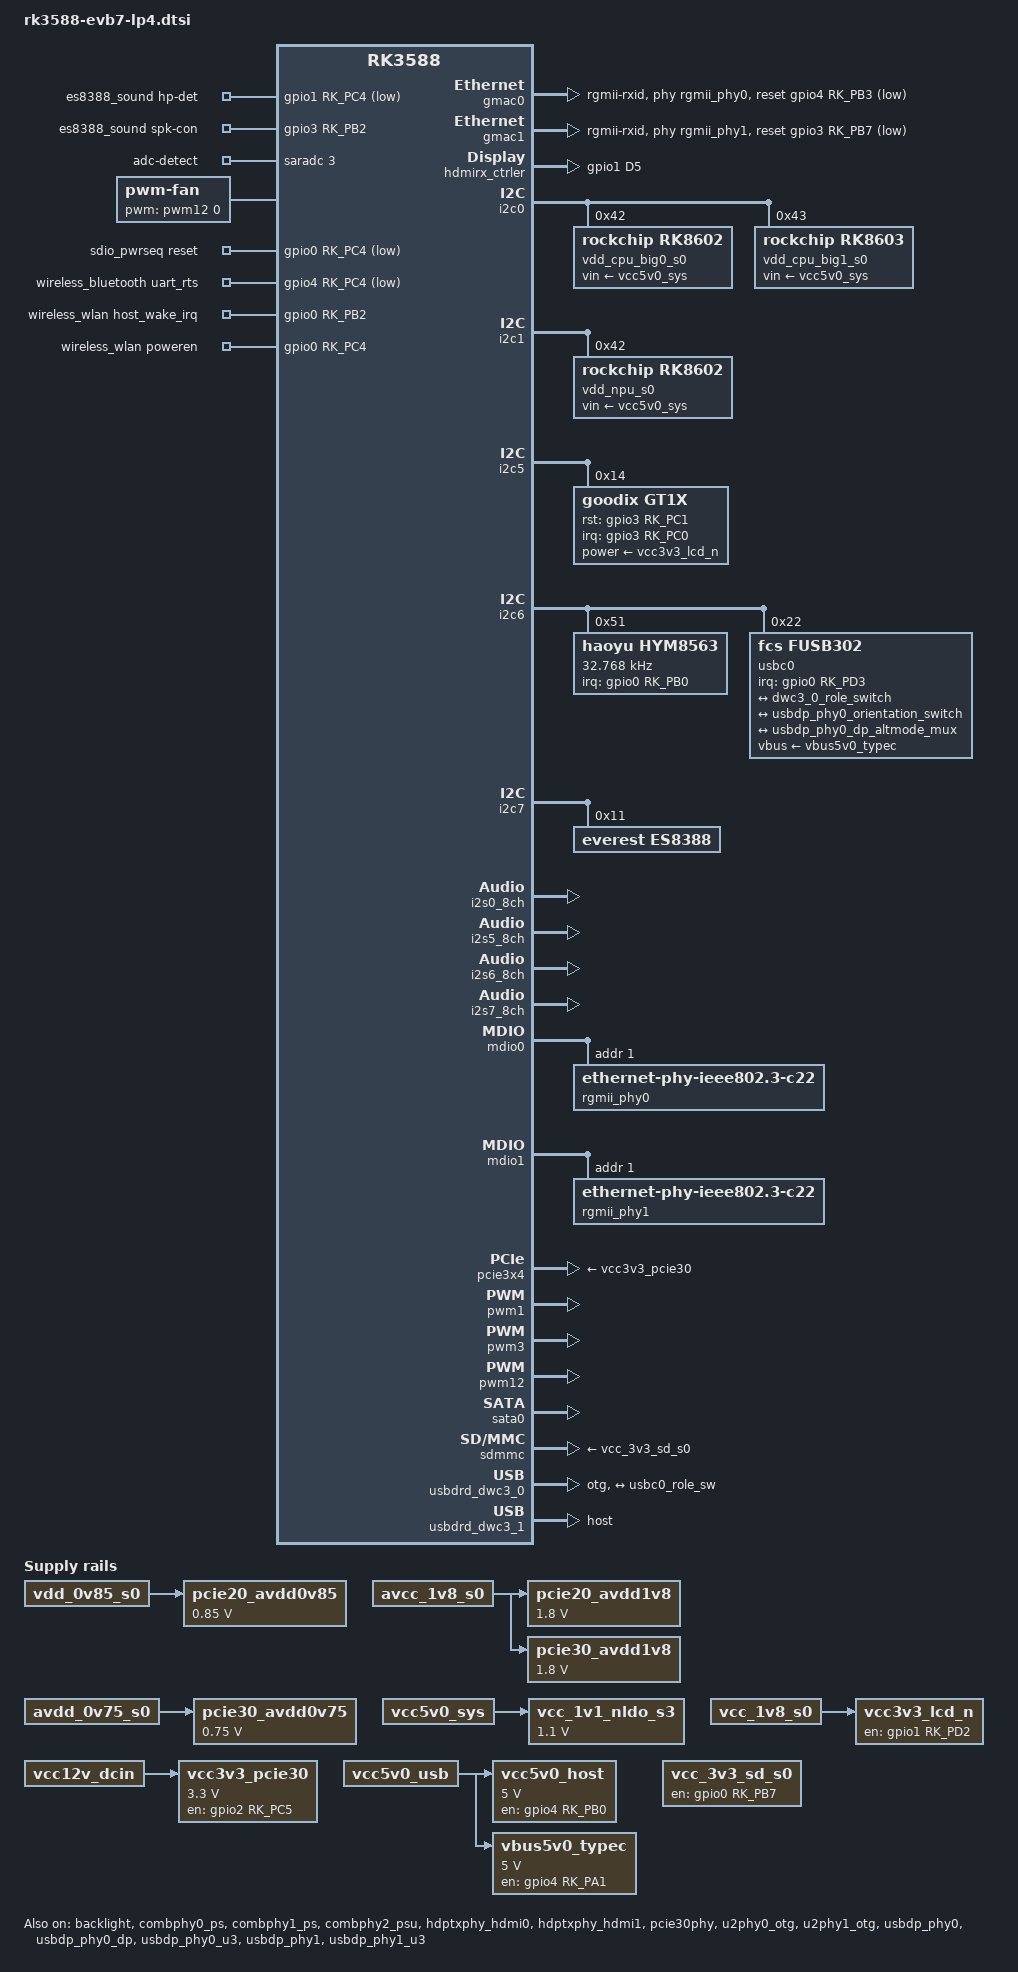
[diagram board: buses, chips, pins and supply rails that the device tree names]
// SPDX-License-Identifier: (GPL-2.0+ OR MIT)
/*
 * Copyright (c) 2021 Rockchip Electronics Co., Ltd.
 *
 */

#include "dt-bindings/usb/pd.h"
#include "rk3588.dtsi"
#include "rk3588-evb.dtsi"
#include "rk3588-rk806-single.dtsi"

#include "topeet_screen_lcds.dts"
#include "topeet_camera_config.dtsi"


/ {
	/* If hdmirx node is disabled, delete the reserved-memory node here. */
	reserved-memory {
		#address-cells = <2>;
		#size-cells = <2>;
		ranges;

		/* Reserve 128MB memory for hdmirx-controller@fdee0000 */
		cma {
			compatible = "shared-dma-pool";
			reusable;
			reg = <0x0 (256 * 0x100000) 0x0 (128 * 0x100000)>;
			linux,cma-default;
		};
	};

	es8388_sound: es8388-sound {
		status = "okay";
		compatible = "rockchip,multicodecs-card";
		rockchip,card-name = "rockchip-es8388";
		hp-det-gpio = <&gpio1 RK_PC4 GPIO_ACTIVE_LOW>;
		io-channels = <&saradc 3>;
		io-channel-names = "adc-detect";
		keyup-threshold-microvolt = <1800000>;
		poll-interval = <100>;
		spk-con-gpio = <&gpio3 RK_PB2 GPIO_ACTIVE_HIGH>;
		//hp-con-gpio = <&gpio4 RK_PA4 GPIO_ACTIVE_HIGH>;
		rockchip,format = "i2s";
		rockchip,mclk-fs = <256>;
		rockchip,cpu = <&i2s0_8ch>;
		rockchip,codec = <&es8388>;
		rockchip,audio-routing =
			"Headphone", "LOUT1",
			"Headphone", "ROUT1",
			"Speaker", "LOUT2",
			"Speaker", "ROUT2",
			"Headphone", "Headphone Power",
			"Headphone", "Headphone Power",
			"Speaker", "Speaker Power",
			"Speaker", "Speaker Power",
			"LINPUT1", "Main Mic",
			"LINPUT2", "Main Mic",
			"RINPUT1", "Headset Mic",
			"RINPUT2", "Headset Mic";
		pinctrl-names = "default";
		pinctrl-0 = <&hp_det>;
		play-pause-key {
			label = "playpause";
			linux,code = <KEY_PLAYPAUSE>;
			press-threshold-microvolt = <2000>;
		};
	};


	fan: pwm-fan {
        	compatible = "pwm-fan";
        	#cooling-cells = <2>;
        	pwms = <&pwm12 0 10000000 0>;
        	cooling-levels = <150 170 190 210 230 255>;
        	rockchip,temp-trips = <
            		40000   1  // 40度以上切换到 1档 (170)
            		50000   2  // 50度以上切换到 2档 (190)
            		60000   3  // 60度以上切换到 3档 (210)
            		70000   4  // 70度以上切换到 4档 (230)
            		80000   5  // 80度遇到高温时才满速 (255)
        	>;
	};

	hdmiin_dc: hdmiin-dc {
		compatible = "rockchip,dummy-codec";
		#sound-dai-cells = <0>;
	};

	hdmiin-sound {
		compatible = "rockchip,hdmi";
		rockchip,mclk-fs = <128>;
		rockchip,format = "i2s";
		rockchip,bitclock-master = <&hdmirx_ctrler>;
		rockchip,frame-master = <&hdmirx_ctrler>;
		rockchip,card-name = "rockchip,hdmiin";
		rockchip,cpu = <&i2s7_8ch>;
		rockchip,codec = <&hdmirx_ctrler 0>;
		rockchip,jack-det;
	};

	pcie20_avdd0v85: pcie20-avdd0v85 {
		compatible = "regulator-fixed";
		regulator-name = "pcie20_avdd0v85";
		regulator-boot-on;
		regulator-always-on;
		regulator-min-microvolt = <850000>;
		regulator-max-microvolt = <850000>;
		vin-supply = <&vdd_0v85_s0>;
	};

	pcie20_avdd1v8: pcie20-avdd1v8 {
		compatible = "regulator-fixed";
		regulator-name = "pcie20_avdd1v8";
		regulator-boot-on;
		regulator-always-on;
		regulator-min-microvolt = <1800000>;
		regulator-max-microvolt = <1800000>;
		vin-supply = <&avcc_1v8_s0>;
	};

	pcie30_avdd0v75: pcie30-avdd0v75 {
		compatible = "regulator-fixed";
		regulator-name = "pcie30_avdd0v75";
		regulator-boot-on;
		regulator-always-on;
		regulator-min-microvolt = <750000>;
		regulator-max-microvolt = <750000>;
		vin-supply = <&avdd_0v75_s0>;
	};

	pcie30_avdd1v8: pcie30-avdd1v8 {
		compatible = "regulator-fixed";
		regulator-name = "pcie30_avdd1v8";
		regulator-boot-on;
		regulator-always-on;
		regulator-min-microvolt = <1800000>;
		regulator-max-microvolt = <1800000>;
		vin-supply = <&avcc_1v8_s0>;
	};

	sdio_pwrseq: sdio-pwrseq {
		compatible = "mmc-pwrseq-simple";
		clocks = <&hym8563>;
		clock-names = "ext_clock";
		pinctrl-names = "default";
//		pinctrl-0 = <&wifi_enable_h>;
		/*
		 * On the module itself this is one of these (depending
		 * on the actual card populated):
		 * - SDIO_RESET_L_WL_REG_ON
		 * - PDN (power down when low)
		 */
		post-power-on-delay-ms = <200>;
		reset-gpios = <&gpio0 RK_PC4 GPIO_ACTIVE_LOW>;
	};
/*
	rk_headset: rk-headset {
		status = "disabled";
		compatible = "rockchip_headset";
		headset_gpio = <&gpio1 RK_PD5 GPIO_ACTIVE_LOW>;
		pinctrl-names = "default";
		pinctrl-0 = <&hp_det>;
		io-channels = <&saradc 3>;
	};
*/

	vcc_1v1_nldo_s3: vcc-1v1-nldo-s3 {
		compatible = "regulator-fixed";
		regulator-name = "vcc_1v1_nldo_s3";
		regulator-always-on;
		regulator-boot-on;
		regulator-min-microvolt = <1100000>;
		regulator-max-microvolt = <1100000>;
		vin-supply = <&vcc5v0_sys>;
	};

	vcc3v3_lcd_n: vcc3v3-lcd0-n {
		compatible = "regulator-fixed";
		regulator-name = "vcc3v3_lcd0_n";
		regulator-always-on;
		regulator-boot-on;
		enable-active-high;
		gpio = <&gpio1 RK_PD2 GPIO_ACTIVE_HIGH>;
		vin-supply = <&vcc_1v8_s0>;
	};

	vcc3v3_pcie30: vcc3v3-pcie30 {
		compatible = "regulator-fixed";
		regulator-name = "vcc3v3_pcie30";
		regulator-min-microvolt = <3300000>;
		regulator-max-microvolt = <3300000>;
		enable-active-high;
		gpios = <&gpio2 RK_PC5 GPIO_ACTIVE_HIGH>;
		startup-delay-us = <5000>;
		vin-supply = <&vcc12v_dcin>;
	};

	vcc5v0_host: vcc5v0-host {
		compatible = "regulator-fixed";
		regulator-name = "vcc5v0_host";
		regulator-boot-on;
		regulator-always-on;
		regulator-min-microvolt = <5000000>;
		regulator-max-microvolt = <5000000>;
		enable-active-high;
		gpio = <&gpio4 RK_PB0 GPIO_ACTIVE_HIGH>;
		vin-supply = <&vcc5v0_usb>;
		pinctrl-names = "default";
		pinctrl-0 = <&vcc5v0_host_en>;
	};

	vcc_3v3_sd_s0: vcc-3v3-sd-s0-regulator {
		compatible = "regulator-fixed";
		gpio = <&gpio0 RK_PB7 GPIO_ACTIVE_HIGH>;
		pinctrl-names = "default";
		pinctrl-0 = <&sd_s0_pwr>;
		regulator-name = "vcc_3v3_sd_s0";
		enable-active-high;
	};

	wireless_bluetooth: wireless-bluetooth {
		compatible = "bluetooth-platdata";
		clocks = <&hym8563>;
		clock-names = "ext_clock";
		uart_rts_gpios = <&gpio4 RK_PC4 GPIO_ACTIVE_LOW>;
		pinctrl-names = "default", "rts_gpio";
	//	pinctrl-0 = <&uart9m0_rtsn>, <&bt_reset_gpio>, <&bt_wake_gpio>, <&bt_irq_gpio>;
	//	pinctrl-1 = <&uart9_gpios>;
	//	BT,reset_gpio    = <&gpio0 RK_PC6 GPIO_ACTIVE_HIGH>;
	//	BT,wake_gpio     = <&gpio0 RK_PC5 GPIO_ACTIVE_HIGH>;
	//	BT,wake_host_irq = <&gpio0 RK_PA0 GPIO_ACTIVE_HIGH>;
		status = "okay";
	};

	wireless_wlan: wireless-wlan {
		compatible = "wlan-platdata";
		wifi_chip_type = "ap6398s";
		pinctrl-names = "default";
	//	pinctrl-0 = <&wifi_host_wake_irq>;
		WIFI,host_wake_irq = <&gpio0 RK_PB2 GPIO_ACTIVE_HIGH>;
		WIFI,poweren_gpio = <&gpio0 RK_PC4 GPIO_ACTIVE_HIGH>;
		status = "okay";
	};

	vbus5v0_typec: vbus5v0-typec {
		compatible = "regulator-fixed";
		regulator-name = "vbus5v0_typec";
		regulator-min-microvolt = <5000000>;
		regulator-max-microvolt = <5000000>;
		enable-active-high;
		gpio = <&gpio4 RK_PA1 GPIO_ACTIVE_HIGH>;
		vin-supply = <&vcc5v0_usb>;
		pinctrl-names = "default";
		pinctrl-0 = <&typec5v_pwren>;
	};

};

&backlight {
	pwms = <&pwm1 0 25000 0>;
	status = "okay";
};

&combphy0_ps {
	status = "okay";
};

&combphy1_ps {
	status = "okay";
};

&combphy2_psu {
	status = "okay";
};


&dp1 {
	pinctrl-names = "default";
	pinctrl-0 = <&dp1m0_pins>;
	status = "disabled";
};

&dp1_in_vp2 {
	status = "disabled";
};

&gmac0 {
	/* Use rgmii-rxid mode to disable rx delay inside Soc */
	phy-mode = "rgmii-rxid";
	clock_in_out = "output";
	snps,reset-gpio = <&gpio4 RK_PB3 GPIO_ACTIVE_LOW>;
	snps,reset-active-low;
	/* Reset time is 20ms, 100ms for rtl8211f */
	snps,reset-delays-us = <0 20000 100000>;
	pinctrl-names = "default";
	pinctrl-0 = <&gmac0_miim
		&gmac0_tx_bus2
		&gmac0_rx_bus2
		&gmac0_rgmii_clk
		&gmac0_rgmii_bus>;
	tx_delay = <0x44>;
	/* rx_delay = <0x4f>; */
	phy-handle = <&rgmii_phy0>;
	status = "okay";
};

&gmac1 {
	/* Use rgmii-rxid mode to disable rx delay inside Soc */
	phy-mode = "rgmii-rxid";
	clock_in_out = "output";

	snps,reset-gpio = <&gpio3 RK_PB7 GPIO_ACTIVE_LOW>;
	snps,reset-active-low;
	/* Reset time is 20ms, 100ms for rtl8211f */
	snps,reset-delays-us = <0 20000 100000>;

	pinctrl-names = "default";
	pinctrl-0 = <&gmac1_miim
		     &gmac1_tx_bus2
		     &gmac1_rx_bus2
		     &gmac1_rgmii_clk
		     &gmac1_rgmii_bus>;

	tx_delay = <0x44>;
	/* rx_delay = <0x3f>; */

	phy-handle = <&rgmii_phy1>;
	status = "okay";
};

/* Should work with at least 128MB cma reserved above. */
&hdmirx_ctrler {
	status = "okay";

	/* Effective level used to trigger HPD: 0-low, 1-high */
	hpd-trigger-level = <1>;
	hdmirx-det-gpios = <&gpio1 RK_PD5 GPIO_ACTIVE_LOW>;
	pinctrl-names = "default";
	pinctrl-0 = <&hdmim1_rx &hdmirx_det>;
};

&hdptxphy_hdmi0 {
	status = "okay";
};

&hdptxphy_hdmi1 {
	status = "okay";
};

&i2c0 {
	status = "okay";
	pinctrl-names = "default";
	pinctrl-0 = <&i2c0m2_xfer>;

	vdd_cpu_big0_s0: vdd_cpu_big0_mem_s0: rk8602@42 {
		compatible = "rockchip,rk8602";
		reg = <0x42>;
		vin-supply = <&vcc5v0_sys>;
		regulator-compatible = "rk860x-reg";
		regulator-name = "vdd_cpu_big0_s0";
		regulator-min-microvolt = <550000>;
		regulator-max-microvolt = <1050000>;
		regulator-ramp-delay = <2300>;
		rockchip,suspend-voltage-selector = <1>;
		regulator-boot-on;
		regulator-always-on;
		regulator-state-mem {
			regulator-off-in-suspend;
		};
	};

	vdd_cpu_big1_s0: vdd_cpu_big1_mem_s0: rk8603@43 {
		compatible = "rockchip,rk8603";
		reg = <0x43>;
		vin-supply = <&vcc5v0_sys>;
		regulator-compatible = "rk860x-reg";
		regulator-name = "vdd_cpu_big1_s0";
		regulator-min-microvolt = <550000>;
		regulator-max-microvolt = <1050000>;
		regulator-ramp-delay = <2300>;
		rockchip,suspend-voltage-selector = <1>;
		regulator-boot-on;
		regulator-always-on;
		regulator-state-mem {
			regulator-off-in-suspend;
		};
	};
};

&i2c1 {
	status = "okay";
	pinctrl-names = "default";
	pinctrl-0 = <&i2c1m2_xfer>;

	vdd_npu_s0: vdd_npu_mem_s0: rk8602@42 {
		compatible = "rockchip,rk8602";
		reg = <0x42>;
		vin-supply = <&vcc5v0_sys>;
		regulator-compatible = "rk860x-reg";
		regulator-name = "vdd_npu_s0";
		regulator-min-microvolt = <550000>;
		regulator-max-microvolt = <950000>;
		regulator-ramp-delay = <2300>;
		rockchip,suspend-voltage-selector = <1>;
		regulator-boot-on;
		regulator-always-on;
		regulator-state-mem {
			regulator-off-in-suspend;
		};
	};
};

&i2c5 {
	status = "okay";
	gt1x: gt1x@14 {
		compatible = "goodix,gt1x";
		reg = <0x14>;
		pinctrl-names = "default";
		pinctrl-0 = <&touch_gpio>;
		goodix,rst-gpio = <&gpio3 RK_PC1 GPIO_ACTIVE_HIGH>;
		goodix,irq-gpio = <&gpio3 RK_PC0 IRQ_TYPE_LEVEL_LOW>;
		power-supply = <&vcc3v3_lcd_n>;
	};
};

&i2c6 {
	status = "okay";
	pinctrl-names = "default";
	pinctrl-0 = <&i2c6m0_xfer>;

	hym8563: hym8563@51 {
		compatible = "haoyu,hym8563";
		reg = <0x51>;
		#clock-cells = <0>;
		clock-frequency = <32768>;
		clock-output-names = "hym8563";
		pinctrl-names = "default";
		pinctrl-0 = <&hym8563_int>;
		interrupt-parent = <&gpio0>;
		interrupts = <RK_PB0 IRQ_TYPE_LEVEL_LOW>;
		wakeup-source;
		status = "okay";
	};

	usbc0: fusb302@22 {
		compatible = "fcs,fusb302";
		reg = <0x22>;
		interrupt-parent = <&gpio0>;
		interrupts = <RK_PD3 IRQ_TYPE_LEVEL_LOW>;
		pinctrl-names = "default";
		pinctrl-0 = <&usbc0_int>;
		vbus-supply = <&vbus5v0_typec>;
		status = "okay";

		ports {
			#address-cells = <1>;
			#size-cells = <0>;

			port@0 {
				reg = <0>;
				usbc0_role_sw: endpoint@0 {
					remote-endpoint = <&dwc3_0_role_switch>;
				};
			};
		};

		usb_con: connector {
			compatible = "usb-c-connector";
			label = "USB-C";
			data-role = "dual";
			power-role = "dual";
			try-power-role = "sink";
			op-sink-microwatt = <1000000>;
			sink-pdos = <PDO_FIXED(5000, 1000, PDO_FIXED_USB_COMM)>;
			source-pdos = <PDO_FIXED(5000, 3000, PDO_FIXED_USB_COMM)>;

			altmodes{
				#address-cells = <1>;
				#size-cells = <0>;

				altmode@0 {
					reg = <0>;
					svid = <0xff01>;
					vdo = <0xffffffff>;
				};
			};

			ports {
				#address-cells = <1>;
				#size-cells = <0>;

				port@0 {
					reg = <0>;

					usbc0_orien_sw: endpoint {
						remote-endpoint = <&usbdp_phy0_orientation_switch>;
					};
				};

				port@1 {
					reg = <1>;

					dp_altmode_mux: endpoint {
						remote-endpoint = <&usbdp_phy0_dp_altmode_mux>;
					};
				};
			};
		};
	};
};

&i2c7 {
	status = "okay";
	pinctrl-0 = <&i2c7m0_xfer>;

	es8388: es8388@11 {
		status = "okay";
		#sound-dai-cells = <0>;
		compatible = "everest,es8388", "everest,es8323";
		reg = <0x11>;
		clocks = <&cru I2S0_8CH_MCLKOUT>;
		clock-names = "mclk";
		assigned-clocks = <&cru I2S0_8CH_MCLKOUT>;
		assigned-clock-rates = <12288000>;
		pinctrl-names = "default";
		pinctrl-0 = <&i2s0_mclk>;
	};

	/*es8388: es8388@11 {
		status = "okay";
		#sound-dai-cells = <0>;
		compatible = "everest,es8388", "everest,es8323";
		reg = <0x11>;
		clocks = <&mclkout_i2s0>;
		clock-names = "mclk";
		assigned-clocks = <&mclkout_i2s0>;
		assigned-clock-rates = <12288000>;
		pinctrl-names = "default";
		pinctrl-0 = <&i2s0_mclk>;
	};*/
};

&i2s0_8ch {
	status = "okay";
};

&i2s5_8ch {
	status = "okay";
};

&i2s6_8ch {
	status = "okay";
};

&i2s7_8ch {
	status = "okay";
};

&mdio0 {
	rgmii_phy0: phy@1 {
		compatible = "ethernet-phy-ieee802.3-c22";
		reg = <0x1>;
	};
};

&mdio1 {
	rgmii_phy1: phy@1 {
		compatible = "ethernet-phy-ieee802.3-c22";
		reg = <0x1>;
	};
};

&pcie2x1l0 {
	reset-gpios = <&gpio1 RK_PB4 GPIO_ACTIVE_HIGH>;
	status = "disabled";
};

&pcie30phy {
	rockchip,pcie30-phymode = <PHY_MODE_PCIE_NANBNB>;
	status = "okay";
};

&pcie3x4 {
//	reset-gpios = <&gpio4 RK_PB3 GPIO_ACTIVE_HIGH>;
	vpcie3v3-supply = <&vcc3v3_pcie30>;
	status = "okay";
};

&pinctrl {
/*	vga {
		vga_hpdin_l: vga-hpdin-l {
			rockchip,pins = <3 RK_PA6 RK_FUNC_GPIO &pcfg_pull_none>;
		};
	};
*/
	hdmi {
		hdmirx_det: hdmirx-det {
			rockchip,pins = <1 RK_PD5 RK_FUNC_GPIO &pcfg_pull_up>;
		};
	};

	headphone {
		hp_det: hp-det {
			rockchip,pins = <1 RK_PC4 RK_FUNC_GPIO &pcfg_pull_down>;
		};
	};

	hym8563 {
		hym8563_int: hym8563-int {
			rockchip,pins = <0 RK_PB0 RK_FUNC_GPIO &pcfg_pull_up>;
		};
	};

	lcd {
		lcd_rst_gpio: lcd-rst-gpio {
			rockchip,pins = <0 RK_PD3 RK_FUNC_GPIO &pcfg_pull_none>;
		};
	};
/*
	sdio-pwrseq {
		wifi_enable_h: wifi-enable-h {
			rockchip,pins = <0 RK_PC4 RK_FUNC_GPIO &pcfg_pull_up>;
		};
	};
*/
	sdmmc {
		sd_s0_pwr: sd-s0-pwr {
			rockchip,pins = <0 RK_PB7 RK_FUNC_GPIO &pcfg_pull_up>;
		};
	};

	touch {
		touch_gpio: touch-gpio {
			rockchip,pins =
				<3 RK_PC1 RK_FUNC_GPIO &pcfg_pull_down>,
				<3 RK_PC0 RK_FUNC_GPIO &pcfg_pull_up>;
		};
	};

	usb {
		vcc5v0_host_en: vcc5v0-host-en {
			rockchip,pins = <4 RK_PB0 RK_FUNC_GPIO &pcfg_pull_none>;
		};
	};

/*
	wireless-bluetooth {
		uart9_gpios: uart9-gpios {
			rockchip,pins = <4 RK_PC4 RK_FUNC_GPIO &pcfg_pull_none>;
		};

		bt_reset_gpio: bt-reset-gpio {
			rockchip,pins = <0 RK_PC6 RK_FUNC_GPIO &pcfg_pull_none>;
		};

		bt_wake_gpio: bt-wake-gpio {
			rockchip,pins = <0 RK_PC5 RK_FUNC_GPIO &pcfg_pull_none>;
		};

		bt_irq_gpio: bt-irq-gpio {
			rockchip,pins = <0 RK_PA0 RK_FUNC_GPIO &pcfg_pull_none>;
		};
	};

	wireless-wlan {
		wifi_host_wake_irq: wifi-host-wake-irq {
			rockchip,pins = <0 RK_PB2 RK_FUNC_GPIO &pcfg_pull_down>;
		};
	};
*/
	usb-typec {
		usbc0_int: usbc0-int {
			rockchip,pins = <0 RK_PD3 RK_FUNC_GPIO &pcfg_pull_up>;
		};

		typec5v_pwren: typec5v-pwren {
			rockchip,pins = <4 RK_PA1 RK_FUNC_GPIO &pcfg_pull_none>;
		};
	};
};

&pwm1 {
	status = "okay";
};

&pwm3 {
	pinctrl-0 = <&pwm3m1_pins>;
	status = "okay";
};
&pwm12 {
	pinctrl-0 = <&pwm12m1_pins>;
	status = "okay";
};

&sata0 {
	status = "okay";
};
/*
&sdio {
	max-frequency = <150000000>;
	no-sd;
	no-mmc;
	bus-width = <4>;
	disable-wp;
	cap-sd-highspeed;
	cap-sdio-irq;
	keep-power-in-suspend;
	mmc-pwrseq = <&sdio_pwrseq>;
	non-removable;
	pinctrl-names = "default";
	pinctrl-0 = <&sdiom0_pins>;
	sd-uhs-sdr104;
	status = "disabled";
};
*/
&sdmmc {
	status = "okay";
	vmmc-supply = <&vcc_3v3_sd_s0>;
};

&uart9 {
	status = "disabled";
	pinctrl-names = "default";
	pinctrl-0 = <&uart9m0_xfer &uart9m0_ctsn>;
};

&u2phy0_otg {
	status = "okay";
};

&u2phy1_otg {
	status = "okay";
	phy-supply = <&vcc5v0_host>;
};

&u2phy2_host {
	phy-supply = <&vcc5v0_host>;
};

&u2phy3_host {
	phy-supply = <&vcc5v0_host>;
};

&usbdp_phy0 {
//	rockchip,dp-lane-mux = <2 3>;
	status = "okay";
	svid = <0xff01>;
	sbu1-dc-gpios = <&gpio4 RK_PA6 GPIO_ACTIVE_HIGH>;
	sbu2-dc-gpios = <&gpio4 RK_PA7 GPIO_ACTIVE_HIGH>;

	port {
		#address-cells = <1>;
		#size-cells = <0>;
		usbdp_phy0_orientation_switch: endpoint@0 {
			reg = <0>;
			remote-endpoint = <&usbc0_orien_sw>;
		};

		usbdp_phy0_dp_altmode_mux: endpoint@1 {
			reg = <1>;
			remote-endpoint = <&dp_altmode_mux>;
		};
	};
};

&usbdp_phy0_dp {
	status = "okay";
};

&usbdp_phy0_u3 {
	status = "okay";
};

&usbdp_phy1 {
	rockchip,dp-lane-mux = <2 3>;
	status = "okay";
};

&usbdp_phy1_u3 {
	maximum-speed = "high-speed";
	status = "okay";
};

&usbdrd_dwc3_0 {
	dr_mode = "otg";
	status = "okay";
	usb-role-switch;

	port {
		#address-cells = <1>;
		#size-cells = <0>;

		dwc3_0_role_switch: endpoint@0 {
			reg = <0>;
			remote-endpoint = <&usbc0_role_sw>;
		};
	};
};

&usbdrd_dwc3_1 {
	dr_mode = "host";
//	maximum-speed = "high-speed";
	status = "okay";
};
